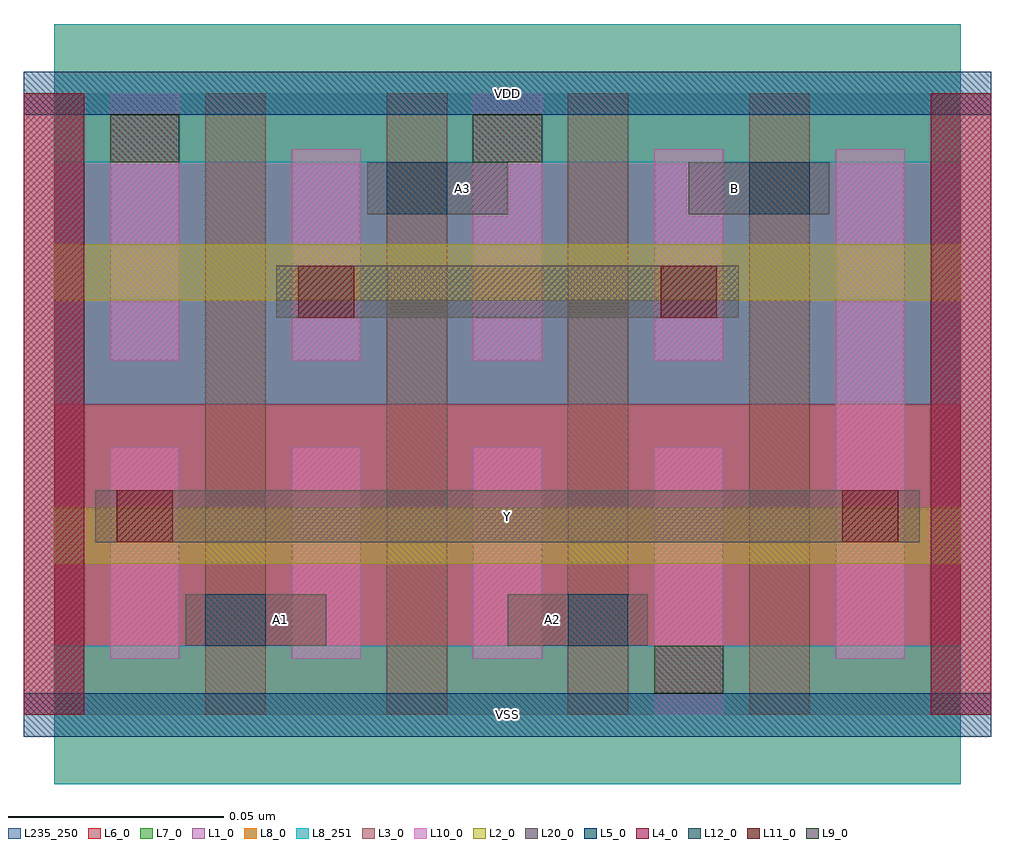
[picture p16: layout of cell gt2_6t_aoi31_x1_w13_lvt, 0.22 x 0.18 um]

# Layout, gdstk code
import gdstk
lib = gdstk.Library(unit=1e-6, precision=5e-10)
def R(c, l, rs):  # rectangles x0, y0, x1, y1
    for r in rs: c.add(gdstk.rectangle(r[:2], r[2:], *l))
def A(c, l, x, y, w, h, nx, ny, dx, dy):  # array of equal rectangles
    R(c, l, [(x+i*dx, y+j*dy, x+i*dx+w, y+j*dy+h) for i in range(nx) for j in range(ny)])
L1_0 = (1, 0)
L2_0 = (2, 0)
L3_0 = (3, 0)
L4_0 = (4, 0)
L5_0 = (5, 0)
L6_0 = (6, 0)
L7_0 = (7, 0)
L8_0 = (8, 0)
L8_251 = (8, 251)
L9_0 = (9, 0)
L10_0 = (10, 0)
L11_0 = (11, 0)
L12_0 = (12, 0)
L20_0 = (20, 0)
L235_250 = (235, 250)

gt2_6t_aoi31_x1_w13_lvt = lib.new_cell('gt2_6t_aoi31_x1_w13_lvt')
R(gt2_6t_aoi31_x1_w13_lvt, L1_0, [(0,0.072,0.21,0.144)])
R(gt2_6t_aoi31_x1_w13_lvt, L2_0, [(0,0.035,0.21,0.048), (0,0.096,0.21,0.109)])
A(gt2_6t_aoi31_x1_w13_lvt, L3_0, -0.007, 0, 0.014, 0.144, 6, 1, 0.042, 0)
R(gt2_6t_aoi31_x1_w13_lvt, L4_0, [(-0.007,0,0.007,0.144), (0.203,0,0.217,0.144)])
R(gt2_6t_aoi31_x1_w13_lvt, L5_0, [(-0.007,-0.005,0.217,0.005), (-0.007,0.139,0.217,0.149)])
R(gt2_6t_aoi31_x1_w13_lvt, L6_0, [(0,0,0.21,0.072)])
R(gt2_6t_aoi31_x1_w13_lvt, L7_0, [(0,0.072,0.21,0.144)])
R(gt2_6t_aoi31_x1_w13_lvt, L8_0, [(0,-0.016,0.21,0.016), (0,0.128,0.21,0.16)])
R(gt2_6t_aoi31_x1_w13_lvt, L8_251, [(0,-0.016,0.21,0.016), (0,0.128,0.21,0.16)])
R(gt2_6t_aoi31_x1_w13_lvt, L9_0, [(0.139,0.005,0.155,0.016), (0.013,0.128,0.029,0.139), (0.097,0.128,0.113,0.139)])
A(gt2_6t_aoi31_x1_w13_lvt, L10_0, 0.013, 0.013, 0.016, 0.049, 3, 1, 0.042, 0)
R(gt2_6t_aoi31_x1_w13_lvt, L10_0, [(0.139,0,0.155,0.062), (0.181,0.013,0.197,0.131), (0.013,0.082,0.029,0.144), (0.055,0.082,0.071,0.131), (0.097,0.082,0.113,0.144), (0.139,0.082,0.155,0.131)])
R(gt2_6t_aoi31_x1_w13_lvt, L11_0, [(0.0145,0.04,0.0275,0.052), (0.1825,0.04,0.1955,0.052), (0.0565,0.092,0.0695,0.104), (0.1405,0.092,0.1535,0.104)])
R(gt2_6t_aoi31_x1_w13_lvt, L12_0, [(0.035,0.016,0.049,0.028), (0.119,0.016,0.133,0.028), (0.077,0.116,0.091,0.128), (0.161,0.116,0.175,0.128)])
R(gt2_6t_aoi31_x1_w13_lvt, L20_0, [(0.0305,0.016,0.063,0.028), (0.105,0.016,0.1375,0.028), (0.0095,0.04,0.2005,0.052), (0.0515,0.092,0.1585,0.104), (0.0725,0.116,0.105,0.128), (0.147,0.116,0.1795,0.128)])
R(gt2_6t_aoi31_x1_w13_lvt, L235_250, [(0,0,0.21,0.144)])
gt2_6t_aoi31_x1_w13_lvt.add(gdstk.Label('VSS', (0.105,0), layer=8, texttype=251))
gt2_6t_aoi31_x1_w13_lvt.add(gdstk.Label('VDD', (0.105,0.144), layer=8, texttype=251))
gt2_6t_aoi31_x1_w13_lvt.add(gdstk.Label('B', (0.1575,0.122), layer=20, texttype=251))
gt2_6t_aoi31_x1_w13_lvt.add(gdstk.Label('A2', (0.1155,0.022), layer=20, texttype=251))
gt2_6t_aoi31_x1_w13_lvt.add(gdstk.Label('A3', (0.0945,0.122), layer=20, texttype=251))
gt2_6t_aoi31_x1_w13_lvt.add(gdstk.Label('A1', (0.0525,0.022), layer=20, texttype=251))
gt2_6t_aoi31_x1_w13_lvt.add(gdstk.Label('Y', (0.105,0.046), layer=20, texttype=251))

lib.write_gds('gt2_6t_aoi31_x1_w13_lvt.gds')
